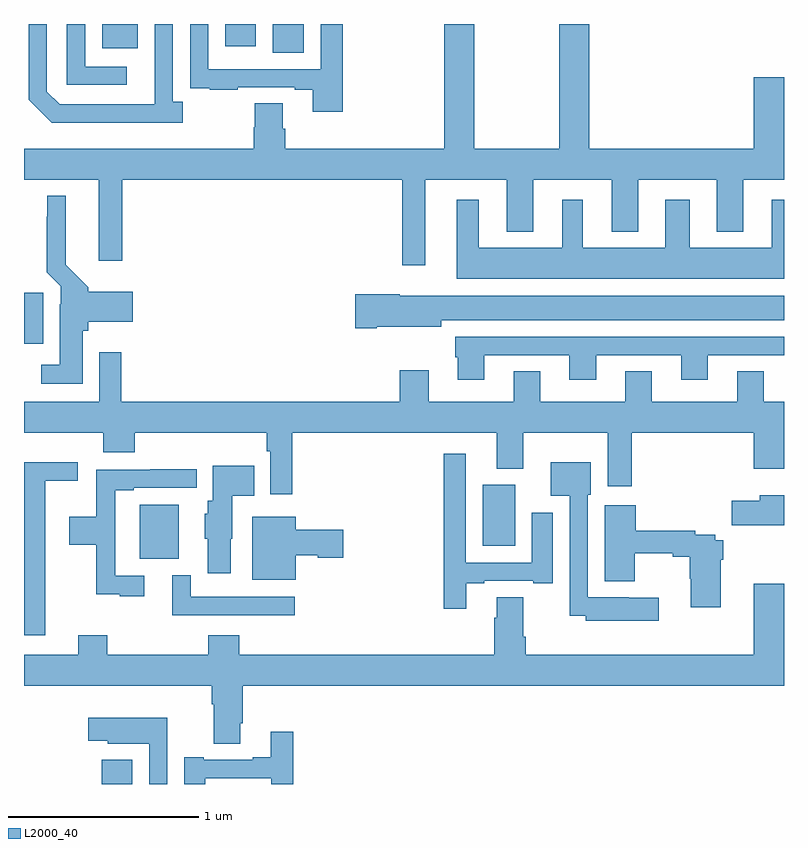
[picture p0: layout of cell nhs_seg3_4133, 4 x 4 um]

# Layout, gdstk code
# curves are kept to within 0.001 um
import gdstk
lib = gdstk.Library(unit=1e-6, precision=1e-09)
def R(c, l, rs):  # rectangles x0, y0, x1, y1
    for r in rs: c.add(gdstk.rectangle(r[:2], r[2:], *l))
def P(c, l, *ps):  # polygons
    for p in ps: c.add(gdstk.Polygon(p, *l))
L2000_40 = (2000, 40)

nhs_seg3_4133 = lib.new_cell('nhs_seg3_4133')
R(nhs_seg3_4133, L2000_40, [(329.408,700.4,329.569,700.528), (329.609,701.585,329.815,701.869), (331.415,701.654,331.585,701.974), (329,702.717,329.101,702.985), (330.308,704.248,330.472,704.4), (329.411,704.273,329.599,704.4), (330.059,704.283,330.22,704.4)])
P(nhs_seg3_4133, L2000_40, [(330.677,704.4),(330.561,704.4),(330.561,704.163),(329.97,704.163),(329.97,704.4),(329.874,704.4),(329.874,704.17),(329.875,704.17),(329.875,704.061),(329.977,704.061),(329.977,704.055),(330.125,704.055),(330.125,704.067),(330.425,704.067),(330.425,704.055),(330.521,704.055),(330.521,703.938),(330.677,703.938)],
  [(329.542,704.175),(329.322,704.175),(329.322,704.4),(329.226,704.4),(329.226,704.079),(329.542,704.079)],
  [(331.976,704.4),(331.816,704.4),(331.816,703.744),(331.371,703.744),(331.371,704.4),(331.211,704.4),(331.211,703.744),(330.374,703.744),(330.374,703.85),(330.361,703.85),(330.361,703.982),(330.214,703.982),(330.214,703.857),(330.209,703.857),(330.209,703.744),(329,703.744),(329,703.58),(329.393,703.58),(329.393,703.155),(329.516,703.155),(329.516,703.58),(330.99,703.58),(330.99,703.131),(331.111,703.131),(331.111,703.58),(331.541,703.58),(331.541,703.307),(331.681,703.307),(331.681,703.58),(332.093,703.58),(332.093,703.307),(332.233,703.307),(332.233,703.58),(332.645,703.58),(332.645,703.307),(332.785,703.307),(332.785,703.58),(333,703.58),(333,704.119),(332.84,704.119),(332.84,703.744),(331.976,703.744)],
  [(329.836,703.99),(329.784,703.99),(329.784,704.4),(329.688,704.4),(329.687,703.977),(329.187,703.977),(329.121,704.043),(329.121,704.4),(329.025,704.4),(329.025,704.001),(329.146,703.88),(329.836,703.88)],
  [(329.308,702.786),(329.339,702.786),(329.339,702.833),(329.572,702.833),(329.572,702.991),(329.339,702.991),(329.339,703.014),(329.221,703.132),(329.221,703.495),(329.123,703.495),(329.123,703.385),(329.119,703.385),(329.119,703.094),(329.193,703.02),(329.193,702.926),(329.189,702.926),(329.189,702.607),(329.091,702.607),(329.091,702.506),(329.308,702.506)],
  [(333,703.474),(332.936,703.474),(332.936,703.222),(332.503,703.222),(332.503,703.474),(332.375,703.474),(332.375,703.222),(331.942,703.222),(331.942,703.474),(331.832,703.474),(331.832,703.222),(331.393,703.222),(331.393,703.474),(331.277,703.474),(331.277,703.058),(333,703.058)],
  [(330.856,702.806),(331.195,702.806),(331.195,702.842),(333,702.842),(333,702.97),(330.978,702.97),(330.978,702.977),(330.744,702.977),(330.744,702.799),(330.856,702.799)],
  [(331.423,702.657),(331.871,702.657),(331.871,702.528),(332.011,702.528),(332.011,702.657),(332.459,702.657),(332.459,702.528),(332.599,702.528),(332.599,702.657),(333,702.657),(333,702.753),(331.271,702.753),(331.271,702.645),(331.283,702.645),(331.283,702.528),(331.423,702.528)],
  [(330.413,702.248),(331.487,702.248),(331.487,702.059),(331.627,702.059),(331.627,702.248),(332.072,702.248),(332.072,701.967),(332.198,701.967),(332.198,702.248),(332.84,702.248),(332.84,702.06),(333,702.06),(333,702.412),(332.893,702.412),(332.893,702.572),(332.753,702.572),(332.753,702.412),(332.305,702.412),(332.305,702.572),(332.165,702.572),(332.165,702.412),(331.717,702.412),(331.717,702.572),(331.577,702.572),(331.577,702.412),(331.129,702.412),(331.129,702.577),(330.977,702.577),(330.977,702.412),(329.513,702.412),(329.513,702.673),(329.397,702.673),(329.397,702.412),(329,702.412),(329,702.248),(329.417,702.248),(329.417,702.146),(329.582,702.146),(329.582,702.248),(330.277,702.248),(330.277,702.152),(330.297,702.152),(330.297,701.925),(330.413,701.925)],
  [(331.327,701.457),(331.423,701.457),(331.423,701.469),(331.679,701.469),(331.679,701.457),(331.783,701.457),(331.783,701.827),(331.673,701.827),(331.673,701.565),(331.326,701.565),(331.326,702.139),(331.21,702.139),(331.21,701.322),(331.327,701.322)],
  [(329.113,701.996),(329.284,701.996),(329.284,702.094),(329,702.094),(329,701.184),(329.113,701.184)],
  [(332.341,701.38),(332.184,701.38),(332.184,701.382),(331.968,701.382),(331.968,701.922),(331.984,701.922),(331.984,702.094),(331.772,702.094),(331.772,701.918),(331.872,701.918),(331.872,701.285),(331.956,701.285),(331.956,701.258),(332.341,701.258)],
  [(330.088,701.691),(330.097,701.691),(330.097,701.918),(330.212,701.918),(330.212,702.076),(329.993,702.076),(329.993,701.892),(329.966,701.892),(329.966,701.823),(329.951,701.823),(329.951,701.691),(329.966,701.691),(329.966,701.508),(330.088,701.508)],
  [(329.632,701.496),(329.481,701.496),(329.481,701.946),(329.578,701.946),(329.578,701.958),(329.908,701.958),(329.908,702.056),(329.665,702.056),(329.665,702.054),(329.38,702.054),(329.38,701.806),(329.238,701.806),(329.238,701.659),(329.38,701.659),(329.38,701.399),(329.504,701.399),(329.504,701.388),(329.632,701.388)],
  [(333,701.92),(332.873,701.92),(332.873,701.89),(332.724,701.89),(332.724,701.761),(333,701.761)],
  [(332.668,701.579),(332.681,701.579),(332.681,701.683),(332.638,701.683),(332.638,701.712),(332.534,701.712),(332.534,701.732),(332.219,701.732),(332.219,701.866),(332.057,701.866),(332.057,701.468),(332.214,701.468),(332.214,701.614),(332.414,701.614),(332.414,701.596),(332.503,701.596),(332.503,701.481),(332.51,701.481),(332.51,701.331),(332.668,701.331)],
  [(330.43,701.603),(330.546,701.603),(330.546,701.591),(330.679,701.591),(330.679,701.738),(330.43,701.738),(330.43,701.806),(330.2,701.806),(330.2,701.474),(330.43,701.474)],
  [(330.424,701.385),(329.877,701.385),(329.877,701.5),(329.78,701.5),(329.78,701.289),(330.424,701.289)],
  [(330.139,700.72),(330.152,700.72),(330.152,700.916),(333,700.916),(333,701.455),(332.84,701.455),(332.84,701.08),(331.64,701.08),(331.64,701.176),(331.627,701.176),(331.627,701.384),(331.487,701.384),(331.487,701.276),(331.475,701.276),(331.475,701.08),(330.134,701.08),(330.134,701.182),(329.969,701.182),(329.969,701.08),(329.438,701.08),(329.438,701.182),(329.285,701.182),(329.285,701.08),(329,701.08),(329,700.916),(329.987,700.916),(329.987,700.82),(329.999,700.82),(329.999,700.612),(330.139,700.612)],
  [(329.754,700.75),(329.337,700.75),(329.337,700.628),(329.442,700.628),(329.442,700.613),(329.658,700.613),(329.658,700.4),(329.754,700.4)],
  [(329.953,700.431),(330.3,700.431),(330.3,700.4),(330.416,700.4),(330.416,700.675),(330.299,700.675),(330.299,700.54),(330.203,700.54),(330.203,700.527),(329.947,700.527),(329.947,700.54),(329.843,700.54),(329.843,700.4),(329.953,700.4)])

lib.write_gds('nhs_seg3_4133.gds')
